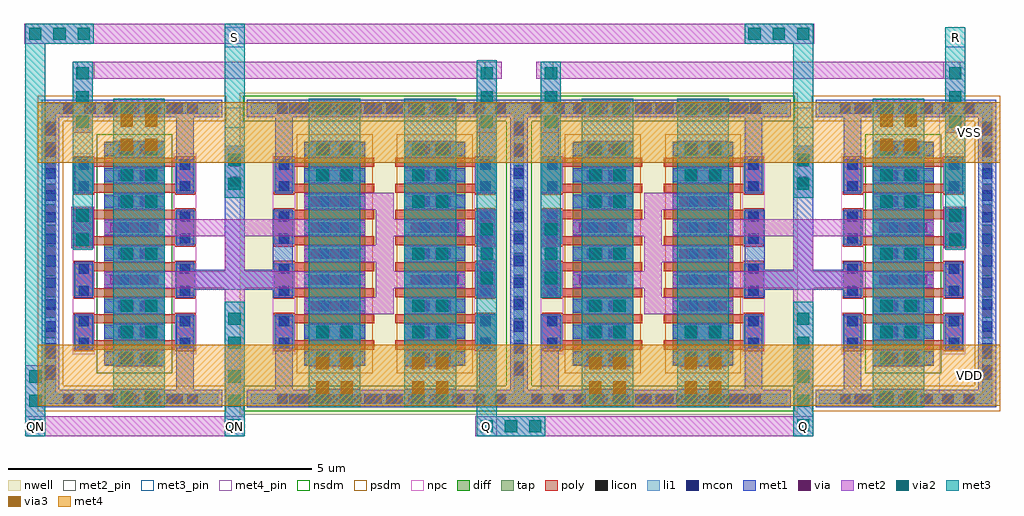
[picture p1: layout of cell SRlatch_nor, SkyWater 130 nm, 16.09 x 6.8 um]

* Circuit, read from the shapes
.subckt SRlatch_nor Q QN R S VDD VSS
XM1 VSS VSS VSS VSS sky130_fd_pr__nfet_01v8 w=1 l=0.15 m=8
XM2 QN S VSS VSS sky130_fd_pr__nfet_01v8 w=1 l=0.15 m=2
XM3 QN Q VSS VSS sky130_fd_pr__nfet_01v8 w=1 l=0.15 m=2
XM4 Q QN VSS VSS sky130_fd_pr__nfet_01v8 w=1 l=0.15 m=2
XM5 Q R VSS VSS sky130_fd_pr__nfet_01v8 w=1 l=0.15 m=2
XM6 VDD VDD VDD VDD sky130_fd_pr__pfet_01v8 w=1 l=0.15 m=12
XM7 n1 VDD VDD VDD sky130_fd_pr__pfet_01v8 w=1 l=0.15 m=2
XM8 QN S n1 VDD sky130_fd_pr__pfet_01v8 w=1 l=0.15 m=4
XM9 n1 Q VDD VDD sky130_fd_pr__pfet_01v8 w=1 l=0.15 m=4
XM10 n2 R VDD VDD sky130_fd_pr__pfet_01v8 w=1 l=0.15 m=4
XM11 n2 VDD VDD VDD sky130_fd_pr__pfet_01v8 w=1 l=0.15 m=2
XM12 Q QN n2 VDD sky130_fd_pr__pfet_01v8 w=1 l=0.15 m=4
.ends

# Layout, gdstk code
from math import pi, radians
import gdstk
lib = gdstk.Library(unit=1e-6, precision=1e-09)
def R(c, l, rs):  # rectangles x0, y0, x1, y1
    for r in rs: c.add(gdstk.rectangle(r[:2], r[2:], *l))
def A(c, l, x, y, w, h, nx, ny, dx, dy):  # array of equal rectangles
    R(c, l, [(x+i*dx, y+j*dy, x+i*dx+w, y+j*dy+h) for i in range(nx) for j in range(ny)])
nwell = (64, 20)
diff = (65, 20)
tap = (65, 44)
poly = (66, 20)
licon = (66, 44)
li1 = (67, 20)
mcon = (67, 44)
met1 = (68, 20)
via = (68, 44)
met2_pin = (69, 16)
met2 = (69, 20)
via2 = (69, 44)
met3_pin = (70, 16)
met3 = (70, 20)
via3 = (70, 44)
met4_pin = (71, 16)
met4 = (71, 20)
nsdm = (93, 44)
psdm = (94, 20)
npc = (95, 20)

m2m3_c_cdns_713556821258 = lib.new_cell('M2M3_C_CDNS_713556821258')
R(m2m3_c_cdns_713556821258, met2, [(-0.165,-0.165,0.165,1.005)])
A(m2m3_c_cdns_713556821258, via2, -0.1, -0.08, 0.2, 0.2, 1, 3, 0, 0.4)
R(m2m3_c_cdns_713556821258, met3, [(-0.165,-0.165,0.165,0.985)])

m2m3_c_cdns_713556821254 = lib.new_cell('M2M3_C_CDNS_7135568212542')
R(m2m3_c_cdns_713556821254, met2, [(-0.185,-0.165,0.985,0.165)])
A(m2m3_c_cdns_713556821254, via2, -0.1, -0.1, 0.2, 0.2, 3, 1, 0.4, 0)
R(m2m3_c_cdns_713556821254, met3, [(-0.165,-0.165,0.965,0.165)])

m3m4_c_cdns_713556821254 = lib.new_cell('M3M4_C_CDNS_7135568212543')
R(m3m4_c_cdns_713556821254, met3, [(-0.425,-0.5,0.425,0.5)])
R(m3m4_c_cdns_713556821254, via3, [(-0.3,-0.3,-0.1,-0.1), (0.1,-0.3,0.3,-0.1), (-0.3,0.1,-0.1,0.3), (0.1,0.1,0.3,0.3)])
R(m3m4_c_cdns_713556821254, met4, [(-0.425,-0.5,0.425,0.5)])

m2m3_c_cdns_713556821251 = lib.new_cell('M2M3_C_CDNS_7135568212515')
R(m2m3_c_cdns_713556821251, met2, [(-0.985,-0.165,0.185,0.165)])
A(m2m3_c_cdns_713556821251, via2, -0.9, -0.1, 0.2, 0.2, 3, 1, 0.4, 0)
R(m2m3_c_cdns_713556821251, met3, [(-0.965,-0.165,0.165,0.165)])

polyconn_cdns_7135568212 = lib.new_cell('polyConn_CDNS_713556821250')
R(polyconn_cdns_7135568212, poly, [(-0.165,-0.315,0.165,0.315)])
R(polyconn_cdns_7135568212, licon, [(-0.085,-0.265,0.085,-0.095), (-0.085,0.095,0.085,0.265)])
R(polyconn_cdns_7135568212, li1, [(-0.165,-0.265,0.165,0.265)])
R(polyconn_cdns_7135568212, mcon, [(-0.085,-0.265,0.085,-0.095), (-0.085,0.095,0.085,0.265)])
R(polyconn_cdns_7135568212, met1, [(-0.145,-0.295,0.145,0.295)])
R(polyconn_cdns_7135568212, npc, [(-0.185,-0.365,0.185,0.365)])

m2m3_c_cdns_713556821255 = lib.new_cell('M2M3_C_CDNS_7135568212557')
R(m2m3_c_cdns_713556821255, met2, [(-0.425,-0.14,0.425,0.14)])
R(m2m3_c_cdns_713556821255, via2, [(-0.3,-0.1,-0.1,0.1), (0.1,-0.1,0.3,0.1)])
R(m2m3_c_cdns_713556821255, met3, [(-0.425,-0.165,0.425,0.165)])

c_m2m3_c_cdns_713556821255 = lib.new_cell('M2M3_C_CDNS_7135568212553')
R(c_m2m3_c_cdns_713556821255, met2, [(-0.425,-0.145,0.425,0.155), (-0.34,0.155,-0.06,0.16), (0.06,0.155,0.34,0.16)])
R(c_m2m3_c_cdns_713556821255, via2, [(-0.3,-0.08,-0.1,0.12), (0.1,-0.08,0.3,0.12)])
R(c_m2m3_c_cdns_713556821255, met3, [(-0.425,-0.145,0.425,0.185)])

m1m2_c_cdns_713556821255 = lib.new_cell('M1M2_C_CDNS_7135568212555')
R(m1m2_c_cdns_713556821255, met1, [(-0.425,-0.145,0.425,0.145), (-0.29,0.145,-0.03,0.15), (0.03,0.145,0.29,0.15)])
R(m1m2_c_cdns_713556821255, via, [(-0.235,-0.055,-0.085,0.095), (0.085,-0.055,0.235,0.095)])
R(m1m2_c_cdns_713556821255, met2, [(-0.425,-0.14,0.425,0.16)])

c_m1m2_c_cdns_713556821255 = lib.new_cell('M1M2_C_CDNS_7135568212552')
R(c_m1m2_c_cdns_713556821255, met1, [(-0.425,-0.13,0.425,0.13)])
R(c_m1m2_c_cdns_713556821255, via, [(-0.235,-0.075,-0.085,0.075), (0.085,-0.075,0.235,0.075)])
R(c_m1m2_c_cdns_713556821255, met2, [(-0.425,-0.14,0.425,0.14)])

m1m2_c_cdns_713556821254 = lib.new_cell('M1M2_C_CDNS_7135568212544')
R(m1m2_c_cdns_713556821254, met1, [(-0.5,-0.13,0.5,0.13)])
A(m1m2_c_cdns_713556821254, via, -0.395, -0.075, 0.15, 0.15, 3, 1, 0.32, 0)
R(m1m2_c_cdns_713556821254, met2, [(-0.5,-0.13,0.5,0.13)])

nfet_01v8_cdns_713556821 = lib.new_cell('nfet_01v8_CDNS_7135568212510')
R(nfet_01v8_cdns_713556821, diff, [(0,-0.845,1,0.055)])
R(nfet_01v8_cdns_713556821, poly, [(-0.15,-0.58,1.15,-0.43), (-0.15,-0.15,1.15,0)])
R(nfet_01v8_cdns_713556821, licon, [(0.245,-0.805,0.415,-0.635), (0.585,-0.805,0.755,-0.635), (0.245,-0.375,0.415,-0.205), (0.585,-0.375,0.755,-0.205)])
R(nfet_01v8_cdns_713556821, li1, [(0,-0.805,1,-0.635), (0,-0.375,1,-0.205)])
R(nfet_01v8_cdns_713556821, mcon, [(0.235,-0.805,0.405,-0.635), (0.595,-0.805,0.765,-0.635), (0.235,-0.375,0.405,-0.205), (0.595,-0.375,0.765,-0.205)])
R(nfet_01v8_cdns_713556821, met1, [(0,-0.835,1,-0.605), (0,-0.405,1,-0.175)])
R(nfet_01v8_cdns_713556821, nsdm, [(-0.125,-0.97,1.125,0.18)])

c_nfet_01v8_cdns_713556821 = lib.new_cell('nfet_01v8_CDNS_713556821258')
R(c_nfet_01v8_cdns_713556821, diff, [(0,-0.805,1,0.225)])
R(c_nfet_01v8_cdns_713556821, poly, [(-0.15,-0.58,1.15,-0.43), (-0.15,-0.15,1.15,0)])
A(c_nfet_01v8_cdns_713556821, licon, 0.245, -0.805, 0.17, 0.17, 1, 3, 0, 0.43)
A(c_nfet_01v8_cdns_713556821, licon, 0.585, -0.805, 0.17, 0.17, 1, 3, 0, 0.43)
A(c_nfet_01v8_cdns_713556821, li1, 0, -0.805, 1, 0.17, 1, 3, 0, 0.43)
A(c_nfet_01v8_cdns_713556821, mcon, 0.235, -0.805, 0.17, 0.17, 1, 3, 0, 0.43)
A(c_nfet_01v8_cdns_713556821, mcon, 0.595, -0.805, 0.17, 0.17, 1, 3, 0, 0.43)
A(c_nfet_01v8_cdns_713556821, met1, 0, -0.835, 1, 0.23, 1, 3, 0, 0.43)
R(c_nfet_01v8_cdns_713556821, nsdm, [(-0.125,-0.93,1.125,0.35)])

c_m2m3_c_cdns_713556821254 = lib.new_cell('M2M3_C_CDNS_7135568212545')
R(c_m2m3_c_cdns_713556821254, met2, [(-0.165,-0.48,0.165,0.48)])
R(c_m2m3_c_cdns_713556821254, via2, [(-0.1,-0.3,0.1,-0.1), (-0.1,0.1,0.1,0.3)])
R(c_m2m3_c_cdns_713556821254, met3, [(-0.165,-0.48,0.165,0.48)])

pfet_01v8_cdns_713556821 = lib.new_cell('pfet_01v8_CDNS_713556821259')
R(pfet_01v8_cdns_713556821, nwell, [(-0.18,-0.555,1.18,0.235)])
R(pfet_01v8_cdns_713556821, diff, [(0,-0.375,1,0.055)])
R(pfet_01v8_cdns_713556821, poly, [(-0.15,-0.15,1.15,0)])
R(pfet_01v8_cdns_713556821, licon, [(0.245,-0.375,0.415,-0.205), (0.585,-0.375,0.755,-0.205)])
R(pfet_01v8_cdns_713556821, li1, [(0,-0.375,1,-0.205)])
R(pfet_01v8_cdns_713556821, mcon, [(0.235,-0.375,0.405,-0.205), (0.595,-0.375,0.765,-0.205)])
R(pfet_01v8_cdns_713556821, met1, [(0,-0.405,1,-0.175)])
R(pfet_01v8_cdns_713556821, psdm, [(-0.125,-0.5,1.125,0.18)])

c_pfet_01v8_cdns_713556821 = lib.new_cell('pfet_01v8_CDNS_713556821252')
R(c_pfet_01v8_cdns_713556821, nwell, [(-0.18,-0.595,1.18,0.235)])
R(c_pfet_01v8_cdns_713556821, diff, [(0,-0.415,1,0.055)])
R(c_pfet_01v8_cdns_713556821, poly, [(-0.15,-0.15,1.15,0)])
R(c_pfet_01v8_cdns_713556821, licon, [(0.245,-0.375,0.415,-0.205), (0.585,-0.375,0.755,-0.205)])
R(c_pfet_01v8_cdns_713556821, li1, [(0,-0.375,1,-0.205)])
R(c_pfet_01v8_cdns_713556821, mcon, [(0.235,-0.375,0.405,-0.205), (0.595,-0.375,0.765,-0.205)])
R(c_pfet_01v8_cdns_713556821, met1, [(0,-0.405,1,-0.175)])
R(c_pfet_01v8_cdns_713556821, psdm, [(-0.125,-0.54,1.125,0.18)])

c_pfet_01v8_cdns_713556821_ = lib.new_cell('pfet_01v8_CDNS_713556821254')
R(c_pfet_01v8_cdns_713556821_, nwell, [(-0.18,-1.845,1.18,0.405)])
R(c_pfet_01v8_cdns_713556821_, diff, [(0,-1.665,1,0.225)])
A(c_pfet_01v8_cdns_713556821_, poly, -0.15, -1.44, 1.3, 0.15, 1, 4, 0, 0.43)
A(c_pfet_01v8_cdns_713556821_, licon, 0.245, -1.665, 0.17, 0.17, 1, 5, 0, 0.43)
A(c_pfet_01v8_cdns_713556821_, licon, 0.585, -1.665, 0.17, 0.17, 1, 5, 0, 0.43)
A(c_pfet_01v8_cdns_713556821_, li1, 0, -1.665, 1, 0.17, 1, 5, 0, 0.43)
A(c_pfet_01v8_cdns_713556821_, mcon, 0.235, -1.665, 0.17, 0.17, 1, 5, 0, 0.43)
A(c_pfet_01v8_cdns_713556821_, mcon, 0.595, -1.665, 0.17, 0.17, 1, 5, 0, 0.43)
A(c_pfet_01v8_cdns_713556821_, met1, 0, -1.695, 1, 0.23, 1, 5, 0, 0.43)
R(c_pfet_01v8_cdns_713556821_, psdm, [(-0.125,-1.79,1.125,0.35)])

c_pfet_01v8_cdns_713556821__ = lib.new_cell('pfet_01v8_CDNS_713556821251')
R(c_pfet_01v8_cdns_713556821__, nwell, [(-0.18,-1.025,1.18,0.235)])
R(c_pfet_01v8_cdns_713556821__, diff, [(0,-0.845,1,0.055)])
R(c_pfet_01v8_cdns_713556821__, poly, [(-0.15,-0.58,1.15,-0.43), (-0.15,-0.15,1.15,0)])
R(c_pfet_01v8_cdns_713556821__, licon, [(0.245,-0.805,0.415,-0.635), (0.585,-0.805,0.755,-0.635), (0.245,-0.375,0.415,-0.205), (0.585,-0.375,0.755,-0.205)])
R(c_pfet_01v8_cdns_713556821__, li1, [(0,-0.805,1,-0.635), (0,-0.375,1,-0.205)])
R(c_pfet_01v8_cdns_713556821__, mcon, [(0.235,-0.805,0.405,-0.635), (0.595,-0.805,0.765,-0.635), (0.235,-0.375,0.405,-0.205), (0.595,-0.375,0.765,-0.205)])
R(c_pfet_01v8_cdns_713556821__, met1, [(0,-0.835,1,-0.605), (0,-0.405,1,-0.175)])
R(c_pfet_01v8_cdns_713556821__, psdm, [(-0.125,-0.97,1.125,0.18)])

c_m2m3_c_cdns_713556821254_ = lib.new_cell('M2M3_C_CDNS_7135568212547')
R(c_m2m3_c_cdns_713556821254_, met2, [(-0.165,-0.725,0.165,0.725)])
A(c_m2m3_c_cdns_713556821254_, via2, -0.1, -0.5, 0.2, 0.2, 1, 3, 0, 0.4)
R(c_m2m3_c_cdns_713556821254_, met3, [(-0.165,-0.725,0.165,0.725)])

c_m1m2_c_cdns_713556821254 = lib.new_cell('M1M2_C_CDNS_7135568212546')
R(c_m1m2_c_cdns_713556821254, met1, [(-0.165,-0.725,0.165,0.725)])
A(c_m1m2_c_cdns_713556821254, via, -0.075, -0.555, 0.15, 0.15, 1, 4, 0, 0.32)
R(c_m1m2_c_cdns_713556821254, met2, [(-0.165,-0.725,0.165,0.725)])

c_nfet_01v8_cdns_713556821_ = lib.new_cell('nfet_01v8_CDNS_7135568212511')
R(c_nfet_01v8_cdns_713556821_, diff, [(0,-0.635,1,0.055)])
R(c_nfet_01v8_cdns_713556821_, poly, [(-0.15,-0.58,1.15,-0.43), (-0.15,-0.15,1.15,0)])
R(c_nfet_01v8_cdns_713556821_, licon, [(0.245,-0.375,0.415,-0.205), (0.585,-0.375,0.755,-0.205)])
R(c_nfet_01v8_cdns_713556821_, li1, [(0,-0.375,1,-0.205)])
R(c_nfet_01v8_cdns_713556821_, mcon, [(0.235,-0.375,0.405,-0.205), (0.595,-0.375,0.765,-0.205)])
R(c_nfet_01v8_cdns_713556821_, met1, [(0,-0.405,1,-0.175)])
R(c_nfet_01v8_cdns_713556821_, nsdm, [(-0.125,-0.76,1.125,0.18)])

c_m2m3_c_cdns_713556821254__ = lib.new_cell('M2M3_C_CDNS_7135568212549')
R(c_m2m3_c_cdns_713556821254__, met2, [(-0.185,-0.34,0.185,0.34)])
R(c_m2m3_c_cdns_713556821254__, via2, [(-0.1,-0.3,0.1,-0.1), (-0.1,0.1,0.1,0.3)])
R(c_m2m3_c_cdns_713556821254__, met3, [(-0.165,-0.365,0.165,0.365)])

c_m1m2_c_cdns_713556821254_ = lib.new_cell('M1M2_C_CDNS_7135568212548')
R(c_m1m2_c_cdns_713556821254_, met1, [(-0.165,-0.295,0.165,0.295)])
R(c_m1m2_c_cdns_713556821254_, via, [(-0.075,-0.235,0.075,-0.085), (-0.075,0.085,0.075,0.235)])
R(c_m1m2_c_cdns_713556821254_, met2, [(-0.185,-0.34,0.185,0.34)])

c_nfet_01v8_cdns_713556821__ = lib.new_cell('nfet_01v8_CDNS_713556821253')
R(c_nfet_01v8_cdns_713556821__, diff, [(0,-0.805,1,0.265)])
R(c_nfet_01v8_cdns_713556821__, poly, [(-0.15,-0.58,1.15,-0.43), (-0.15,-0.15,1.15,0)])
A(c_nfet_01v8_cdns_713556821__, licon, 0.245, -0.805, 0.17, 0.17, 1, 3, 0, 0.43)
A(c_nfet_01v8_cdns_713556821__, licon, 0.585, -0.805, 0.17, 0.17, 1, 3, 0, 0.43)
A(c_nfet_01v8_cdns_713556821__, li1, 0, -0.805, 1, 0.17, 1, 3, 0, 0.43)
A(c_nfet_01v8_cdns_713556821__, mcon, 0.235, -0.805, 0.17, 0.17, 1, 3, 0, 0.43)
A(c_nfet_01v8_cdns_713556821__, mcon, 0.595, -0.805, 0.17, 0.17, 1, 3, 0, 0.43)
A(c_nfet_01v8_cdns_713556821__, met1, 0, -0.835, 1, 0.23, 1, 3, 0, 0.43)
R(c_nfet_01v8_cdns_713556821__, nsdm, [(-0.125,-0.93,1.125,0.39)])

c_m1m2_c_cdns_713556821255_ = lib.new_cell('M1M2_C_CDNS_7135568212550')
R(c_m1m2_c_cdns_713556821255_, met1, [(-0.165,-0.43,0.165,0.43)])
R(c_m1m2_c_cdns_713556821255_, via, [(-0.075,-0.235,0.075,-0.085), (-0.075,0.085,0.075,0.235)])
R(c_m1m2_c_cdns_713556821255_, met2, [(-0.165,-0.43,0.165,0.43)])

c_m2m3_c_cdns_713556821255_ = lib.new_cell('M2M3_C_CDNS_713556821255')
R(c_m2m3_c_cdns_713556821255_, met2, [(-0.165,-0.43,0.165,0.43)])
R(c_m2m3_c_cdns_713556821255_, via2, [(-0.1,-0.3,0.1,-0.1), (-0.1,0.1,0.1,0.3)])
R(c_m2m3_c_cdns_713556821255_, met3, [(-0.165,-0.43,0.165,0.43)])

c_pfet_01v8_cdns_713556821___ = lib.new_cell('pfet_01v8_CDNS_713556821257')
R(c_pfet_01v8_cdns_713556821___, nwell, [(-0.18,-0.385,1.18,0.405)])
R(c_pfet_01v8_cdns_713556821___, diff, [(0,-0.205,1,0.225)])
R(c_pfet_01v8_cdns_713556821___, poly, [(-0.15,-0.15,1.15,0)])
R(c_pfet_01v8_cdns_713556821___, licon, [(0.245,0.055,0.415,0.225), (0.585,0.055,0.755,0.225)])
R(c_pfet_01v8_cdns_713556821___, li1, [(0,0.055,1,0.225)])
R(c_pfet_01v8_cdns_713556821___, mcon, [(0.235,0.055,0.405,0.225), (0.595,0.055,0.765,0.225)])
R(c_pfet_01v8_cdns_713556821___, met1, [(0,0.025,1,0.255)])
R(c_pfet_01v8_cdns_713556821___, psdm, [(-0.125,-0.33,1.125,0.35)])

c_pfet_01v8_cdns_713556821____ = lib.new_cell('pfet_01v8_CDNS_713556821255')
R(c_pfet_01v8_cdns_713556821____, nwell, [(-0.18,-0.385,1.18,0.445)])
R(c_pfet_01v8_cdns_713556821____, diff, [(0,-0.205,1,0.265)])
R(c_pfet_01v8_cdns_713556821____, poly, [(-0.15,-0.15,1.15,0)])
R(c_pfet_01v8_cdns_713556821____, licon, [(0.245,0.055,0.415,0.225), (0.585,0.055,0.755,0.225)])
R(c_pfet_01v8_cdns_713556821____, li1, [(0,0.055,1,0.225)])
R(c_pfet_01v8_cdns_713556821____, mcon, [(0.235,0.055,0.405,0.225), (0.595,0.055,0.765,0.225)])
R(c_pfet_01v8_cdns_713556821____, met1, [(0,0.025,1,0.255)])
R(c_pfet_01v8_cdns_713556821____, psdm, [(-0.125,-0.33,1.125,0.39)])

c_pfet_01v8_cdns_713556821_____ = lib.new_cell('pfet_01v8_CDNS_713556821256')
R(c_pfet_01v8_cdns_713556821_____, nwell, [(-0.18,-0.815,1.18,0.445)])
R(c_pfet_01v8_cdns_713556821_____, diff, [(0,-0.635,1,0.265)])
R(c_pfet_01v8_cdns_713556821_____, poly, [(-0.15,-0.58,1.15,-0.43), (-0.15,-0.15,1.15,0)])
R(c_pfet_01v8_cdns_713556821_____, licon, [(0.245,-0.375,0.415,-0.205), (0.585,-0.375,0.755,-0.205), (0.245,0.055,0.415,0.225), (0.585,0.055,0.755,0.225)])
R(c_pfet_01v8_cdns_713556821_____, li1, [(0,-0.375,1,-0.205), (0,0.055,1,0.225)])
R(c_pfet_01v8_cdns_713556821_____, mcon, [(0.235,-0.375,0.405,-0.205), (0.595,-0.375,0.765,-0.205), (0.235,0.055,0.405,0.225), (0.595,0.055,0.765,0.225)])
R(c_pfet_01v8_cdns_713556821_____, met1, [(0,-0.405,1,-0.175), (0,0.025,1,0.255)])
R(c_pfet_01v8_cdns_713556821_____, psdm, [(-0.125,-0.76,1.125,0.39)])

c_m1m2_c_cdns_713556821255__ = lib.new_cell('M1M2_C_CDNS_7135568212556')
R(c_m1m2_c_cdns_713556821255__, met1, [(-0.425,-0.145,0.425,0.145)])
R(c_m1m2_c_cdns_713556821255__, via, [(-0.235,-0.075,-0.085,0.075), (0.085,-0.075,0.235,0.075)])
R(c_m1m2_c_cdns_713556821255__, met2, [(-0.425,-0.145,0.425,0.145)])

c_m2m3_c_cdns_713556821255__ = lib.new_cell('M2M3_C_CDNS_7135568212551')
R(c_m2m3_c_cdns_713556821255__, met2, [(-0.165,-1.03,0.165,0.14)])
A(c_m2m3_c_cdns_713556821255__, via2, -0.1, -0.945, 0.2, 0.2, 1, 3, 0, 0.4)
R(c_m2m3_c_cdns_713556821255__, met3, [(-0.165,-1.01,0.165,0.14)])

c_m2m3_c_cdns_713556821255___ = lib.new_cell('M2M3_C_CDNS_7135568212554')
R(c_m2m3_c_cdns_713556821255___, met2, [(-0.425,-0.145,0.425,0.145)])
R(c_m2m3_c_cdns_713556821255___, via2, [(-0.3,-0.1,-0.1,0.1), (0.1,-0.1,0.3,0.1)])
R(c_m2m3_c_cdns_713556821255___, met3, [(-0.425,-0.165,0.425,0.165)])

nor = lib.new_cell('nor')
R(nor, nwell, [(3.33,-5.815,8.195,-0.505)])
R(nor, tap, [(0.125,-5.635,2.98,-5.465), (3.51,-5.635,8.015,-5.465), (0.125,-5.465,0.295,-0.855), (7.845,-5.465,8.015,-0.855), (0.125,-0.855,2.98,-0.685), (3.51,-0.855,8.015,-0.685)])
A(nor, poly, 0.595, -4.74, 0.5, 0.15, 1, 8, 0, 0.43)
A(nor, poly, 2.095, -4.74, 0.5, 0.15, 1, 8, 0, 0.43)
A(nor, poly, 3.895, -4.74, 0.5, 0.15, 1, 8, 0, 0.43)
A(nor, poly, 7.045, -4.74, 0.5, 0.15, 1, 8, 0, 0.43)
A(nor, licon, 0.425, -5.635, 0.17, 0.17, 7, 2, 0.34, 4.78)
A(nor, licon, 4.145, -5.635, 0.17, 0.17, 11, 2, 0.34, 4.78)
A(nor, licon, 0.125, -5.235, 0.17, 0.17, 1, 13, 0, 0.34)
A(nor, licon, 7.845, -5.115, 0.17, 0.17, 1, 12, 0, 0.36)
R(nor, li1, [(0.125,-5.635,2.98,-5.465), (3.51,-5.635,8.015,-5.465), (0.125,-5.465,0.295,-0.855), (7.845,-5.465,8.015,-0.855), (0.125,-0.855,2.98,-0.685), (3.51,-0.855,8.015,-0.685)])
A(nor, mcon, 0.425, -5.635, 0.17, 0.17, 6, 2, 0.36, 4.78)
A(nor, mcon, 3.945, -5.635, 0.17, 0.17, 11, 2, 0.36, 4.78)
A(nor, mcon, 0.125, -5.165, 0.17, 0.17, 1, 12, 0, 0.36)
A(nor, mcon, 7.845, -5.165, 0.17, 0.17, 1, 12, 0, 0.36)
R(nor, met1, [(0.065,-5.695,3.04,-5.405), (3.45,-5.695,8.075,-5.405), (0.065,-5.405,0.355,-0.915), (1.245,-5.405,2.095,-5.4), (2.285,-5.405,2.575,-4.155), (3.915,-5.405,4.205,-4.155), (4.47,-5.405,5.32,-5.4), (6.045,-5.405,6.895,-5.4), (7.275,-5.405,7.565,-4.155), (7.785,-5.405,8.075,-0.915), (3.875,-3.885,4.205,-3.755), (7.235,-3.885,7.565,-2.435), (2.285,-3.755,4.205,-3.425), (3.08,-3.425,3.41,-1.38), (3.875,-3.425,4.205,-2.435), (0.575,-3.025,0.905,-2.435), (2.285,-2.165,2.575,-0.915), (3.915,-2.165,4.205,-0.915), (7.275,-2.165,7.565,-0.915), (0.065,-0.915,3.04,-0.625), (3.45,-0.915,8.075,-0.625)])
R(nor, met2_pin, [(0.655,-0.28,0.935,0), (7.365,-0.28,7.645,0)])
A(nor, met2, 4.395, -4.16, 1.47, 0.28, 1, 3, 0, 0.86)
A(nor, met2, 5.575, -3.88, 0.29, 0.15, 1, 4, 0, 0.43)
R(nor, met2, [(1.245,-5.695,2.095,-5.39), (4.47,-5.695,5.32,-5.39), (6.045,-5.695,6.895,-5.39), (3.08,-4.915,3.41,-3.73), (1.095,-3.73,5.395,-3.45), (5.575,-3.73,7.045,-3.45), (3.08,-3.45,3.41,-2.87), (1.095,-2.87,5.395,-2.59), (5.575,-2.87,7.045,-2.59), (0.575,-0.28,7.645,0)])
R(nor, met3_pin, [(3.08,-5.55,3.41,-5.22), (1.245,-1.455,2.095,-0.605), (6.045,-1.455,6.895,-0.605), (3.08,-1.085,3.41,-0.755)])
R(nor, met3, [(1.245,-5.695,2.095,-0.605), (4.47,-5.695,5.32,-0.605), (6.045,-5.695,6.895,-0.605), (3.08,-5.55,3.41,-3.95), (7.235,-3.885,7.565,0), (0.575,-3.095,0.905,0), (3.08,-2.24,3.41,-0.755)])
R(nor, nsdm, [(3.385,-5.76,8.14,-5.34), (7.72,-5.34,8.14,-0.98), (3.385,-0.98,8.14,-0.56)])
R(nor, psdm, [(0,-5.76,3.105,-5.34), (0,-5.34,0.42,-0.98), (0,-0.98,3.105,-0.56)])
A(nor, npc, 0.575, -4.085, 0.37, 0.13, 1, 3, 0, 0.86)
A(nor, npc, 2.245, -4.085, 0.37, 0.13, 1, 3, 0, 0.86)
A(nor, npc, 3.875, -4.085, 0.37, 0.13, 1, 3, 0, 0.86)
A(nor, npc, 7.195, -4.085, 0.37, 0.13, 1, 3, 0, 0.86)
nor.add(gdstk.Reference(polyconn_cdns_7135568212, (0.76,-4.45)))
nor.add(gdstk.Reference(m2m3_c_cdns_713556821255, (1.67,-4.45)))
nor.add(gdstk.Reference(m2m3_c_cdns_713556821255, (1.67,-4.88)))
nor.add(gdstk.Reference(c_m2m3_c_cdns_713556821255, (1.67,-5.55)))
nor.add(gdstk.Reference(m1m2_c_cdns_713556821255, (1.67,-5.55)))
nor.add(gdstk.Reference(c_m1m2_c_cdns_713556821255, (1.67,-4.45)))
nor.add(gdstk.Reference(c_m1m2_c_cdns_713556821255, (1.67,-4.88)))
nor.add(gdstk.Reference(polyconn_cdns_7135568212, (0.76,-3.59)))
nor.add(gdstk.Reference(m2m3_c_cdns_713556821255, (1.67,-4.02)))
nor.add(gdstk.Reference(c_m1m2_c_cdns_713556821255, (1.67,-4.02)))
nor.add(gdstk.Reference(m1m2_c_cdns_713556821254, (1.595,-3.59)))
nor.add(gdstk.Reference(nfet_01v8_cdns_713556821, (1.095,-4.16)))
nor.add(gdstk.Reference(c_nfet_01v8_cdns_713556821, (1.095,-3.3)))
nor.add(gdstk.Reference(c_m2m3_c_cdns_713556821254, (3.245,-4.43)))
nor.add(gdstk.Reference(polyconn_cdns_7135568212, (2.43,-3.59), rotation=pi, x_reflection=True))
nor.add(gdstk.Reference(polyconn_cdns_7135568212, (2.43,-4.45), rotation=pi, x_reflection=True))
nor.add(gdstk.Reference(polyconn_cdns_7135568212, (4.06,-4.45)))
nor.add(gdstk.Reference(pfet_01v8_cdns_713556821, (4.395,-4.16)))
nor.add(gdstk.Reference(c_pfet_01v8_cdns_713556821, (4.395,-4.59)))
nor.add(gdstk.Reference(m2m3_c_cdns_713556821255, (4.895,-4.45)))
nor.add(gdstk.Reference(m2m3_c_cdns_713556821255, (4.895,-4.88)))
nor.add(gdstk.Reference(c_m2m3_c_cdns_713556821255, (4.895,-5.55)))
nor.add(gdstk.Reference(m1m2_c_cdns_713556821255, (4.895,-5.55)))
nor.add(gdstk.Reference(c_m1m2_c_cdns_713556821255, (4.895,-4.45)))
nor.add(gdstk.Reference(c_m1m2_c_cdns_713556821255, (4.895,-4.88)))
nor.add(gdstk.Reference(polyconn_cdns_7135568212, (4.06,-3.59)))
nor.add(gdstk.Reference(m1m2_c_cdns_713556821254, (4.895,-3.59)))
nor.add(gdstk.Reference(m1m2_c_cdns_713556821254, (4.895,-4.02)))
nor.add(gdstk.Reference(c_pfet_01v8_cdns_713556821_, (4.395,-2.44)))
nor.add(gdstk.Reference(c_pfet_01v8_cdns_713556821__, (6.045,-4.16)))
nor.add(gdstk.Reference(c_pfet_01v8_cdns_713556821_, (6.045,-2.44)))
nor.add(gdstk.Reference(polyconn_cdns_7135568212, (7.38,-4.45), rotation=pi, x_reflection=True))
nor.add(gdstk.Reference(m2m3_c_cdns_713556821255, (6.47,-4.88)))
nor.add(gdstk.Reference(m2m3_c_cdns_713556821255, (6.47,-4.45)))
nor.add(gdstk.Reference(c_m2m3_c_cdns_713556821255, (6.47,-5.55)))
nor.add(gdstk.Reference(m1m2_c_cdns_713556821255, (6.47,-5.55)))
nor.add(gdstk.Reference(c_m1m2_c_cdns_713556821255, (6.47,-4.45)))
nor.add(gdstk.Reference(c_m1m2_c_cdns_713556821255, (6.47,-4.88)))
nor.add(gdstk.Reference(polyconn_cdns_7135568212, (7.38,-3.59), rotation=pi, x_reflection=True))
nor.add(gdstk.Reference(m2m3_c_cdns_713556821255, (6.47,-4.02)))
nor.add(gdstk.Reference(c_m1m2_c_cdns_713556821255, (6.47,-4.02)))
nor.add(gdstk.Reference(m1m2_c_cdns_713556821254, (6.545,-3.59)))
nor.add(gdstk.Reference(c_m2m3_c_cdns_713556821254_, (7.4,-3.16)))
nor.add(gdstk.Reference(c_m1m2_c_cdns_713556821254, (7.4,-3.16)))
nor.add(gdstk.Reference(polyconn_cdns_7135568212, (0.76,-2.73)))
nor.add(gdstk.Reference(c_nfet_01v8_cdns_713556821_, (1.095,-2.44)))
nor.add(gdstk.Reference(m2m3_c_cdns_713556821255, (1.67,-3.16)))
nor.add(gdstk.Reference(m2m3_c_cdns_713556821255, (1.67,-2.3)))
nor.add(gdstk.Reference(c_m2m3_c_cdns_713556821254__, (0.74,-2.73)))
nor.add(gdstk.Reference(c_m1m2_c_cdns_713556821255, (1.67,-2.3)))
nor.add(gdstk.Reference(c_m1m2_c_cdns_713556821255, (1.67,-3.16)))
nor.add(gdstk.Reference(c_m1m2_c_cdns_713556821254_, (0.74,-2.73)))
nor.add(gdstk.Reference(m1m2_c_cdns_713556821254, (1.595,-2.73)))
nor.add(gdstk.Reference(polyconn_cdns_7135568212, (0.76,-1.87)))
nor.add(gdstk.Reference(m2m3_c_cdns_713556821255, (1.67,-1.44)))
nor.add(gdstk.Reference(m2m3_c_cdns_713556821255, (1.67,-1.87)))
nor.add(gdstk.Reference(c_m1m2_c_cdns_713556821255, (1.67,-1.44)))
nor.add(gdstk.Reference(c_m1m2_c_cdns_713556821255, (1.67,-1.87)))
nor.add(gdstk.Reference(c_nfet_01v8_cdns_713556821__, (1.095,-1.58)))
nor.add(gdstk.Reference(c_m1m2_c_cdns_713556821255_, (3.245,-1.81)))
nor.add(gdstk.Reference(c_m2m3_c_cdns_713556821255_, (3.245,-1.81)))
nor.add(gdstk.Reference(polyconn_cdns_7135568212, (2.43,-1.87), rotation=pi, x_reflection=True))
nor.add(gdstk.Reference(polyconn_cdns_7135568212, (2.43,-2.73), rotation=pi, x_reflection=True))
nor.add(gdstk.Reference(polyconn_cdns_7135568212, (4.06,-2.73)))
nor.add(gdstk.Reference(m1m2_c_cdns_713556821254, (4.895,-2.73)))
nor.add(gdstk.Reference(m1m2_c_cdns_713556821254, (4.895,-3.16)))
nor.add(gdstk.Reference(polyconn_cdns_7135568212, (4.06,-1.87)))
nor.add(gdstk.Reference(c_pfet_01v8_cdns_713556821___, (4.395,-2.01)))
nor.add(gdstk.Reference(c_pfet_01v8_cdns_713556821____, (4.395,-1.58)))
nor.add(gdstk.Reference(m2m3_c_cdns_713556821255, (4.895,-1.87)))
nor.add(gdstk.Reference(c_m1m2_c_cdns_713556821255, (4.895,-1.87)))
nor.add(gdstk.Reference(m1m2_c_cdns_713556821254, (4.895,-2.3)))
nor.add(gdstk.Reference(m2m3_c_cdns_713556821255, (4.895,-1.44)))
nor.add(gdstk.Reference(c_m1m2_c_cdns_713556821255, (4.895,-1.44)))
nor.add(gdstk.Reference(c_pfet_01v8_cdns_713556821_____, (6.045,-1.58)))
nor.add(gdstk.Reference(polyconn_cdns_7135568212, (7.38,-2.73), rotation=pi, x_reflection=True))
nor.add(gdstk.Reference(m2m3_c_cdns_713556821255, (6.47,-3.16)))
nor.add(gdstk.Reference(c_m1m2_c_cdns_713556821255, (6.47,-3.16)))
nor.add(gdstk.Reference(m1m2_c_cdns_713556821254, (6.545,-2.73)))
nor.add(gdstk.Reference(polyconn_cdns_7135568212, (7.38,-1.87), rotation=pi, x_reflection=True))
nor.add(gdstk.Reference(m2m3_c_cdns_713556821255, (6.47,-2.3)))
nor.add(gdstk.Reference(c_m1m2_c_cdns_713556821255, (6.47,-2.3)))
nor.add(gdstk.Reference(m2m3_c_cdns_713556821255, (6.47,-1.44)))
nor.add(gdstk.Reference(m2m3_c_cdns_713556821255, (6.47,-1.87)))
nor.add(gdstk.Reference(c_m1m2_c_cdns_713556821255, (6.47,-1.44)))
nor.add(gdstk.Reference(c_m1m2_c_cdns_713556821255, (6.47,-1.87)))
nor.add(gdstk.Reference(c_m1m2_c_cdns_713556821255__, (1.67,-0.77)))
nor.add(gdstk.Reference(c_m2m3_c_cdns_713556821255__, (0.74,-0.14)))
nor.add(gdstk.Reference(c_m2m3_c_cdns_713556821255___, (1.67,-0.77)))
nor.add(gdstk.Reference(c_m1m2_c_cdns_713556821255__, (4.895,-0.77)))
nor.add(gdstk.Reference(c_m2m3_c_cdns_713556821255___, (4.895,-0.77)))
nor.add(gdstk.Reference(c_m1m2_c_cdns_713556821255__, (6.47,-0.77)))
nor.add(gdstk.Reference(c_m2m3_c_cdns_713556821255__, (7.4,-0.14)))
nor.add(gdstk.Reference(c_m2m3_c_cdns_713556821255___, (6.47,-0.77)))
nor.add(gdstk.Label('A', (7.505,-0.14), layer=69, texttype=5))
nor.add(gdstk.Label('A', (0.795,-0.14), layer=69, texttype=5))
nor.add(gdstk.Label('B', (3.245,-0.92), layer=70, texttype=5))
nor.add(gdstk.Label('Out', (3.245,-5.385), layer=70, texttype=5))
nor.add(gdstk.Label('VSS', (1.67,-1.03), layer=70, texttype=5))
nor.add(gdstk.Label('VDD', (6.47,-1.03), layer=70, texttype=5))

srlatch_nor = lib.new_cell('SRlatch_nor')
R(srlatch_nor, met2_pin, [(0.02,-6.8,0.35,-6.47), (3.305,-6.8,3.635,-6.47), (7.46,-6.8,7.79,-6.47), (12.675,-6.8,13.005,-6.47)])
R(srlatch_nor, met2, [(0.02,-6.8,3.635,-6.47), (7.46,-6.8,13.005,-6.47), (3.305,-6.47,3.635,-4.58), (12.675,-6.47,13.005,-4.58), (0,-0.33,13.005,0)])
R(srlatch_nor, met3_pin, [(3.305,-0.385,3.635,-0.055), (15.18,-0.385,15.51,-0.055)])
R(srlatch_nor, met3, [(0.02,-6.8,0.35,0), (3.305,-6.8,3.635,-5.85), (7.46,-6.8,7.79,-0.605), (12.675,-6.8,13.005,-5.85), (3.305,-1.715,3.635,0), (12.675,-1.715,13.005,0), (15.18,-1.715,15.51,-0.055)])
R(srlatch_nor, met4_pin, [(15.085,-6.295,16.085,-5.295), (15.085,-2.295,16.085,-1.295)])
R(srlatch_nor, met4, [(0.225,-6.295,16.085,-5.295), (0.225,-2.295,16.085,-1.295)])
srlatch_nor.add(gdstk.Reference(m2m3_c_cdns_713556821258, (12.84,-6.635)))
srlatch_nor.add(gdstk.Reference(m2m3_c_cdns_713556821258, (3.47,-6.635), rotation=pi, x_reflection=True))
srlatch_nor.add(gdstk.Reference(m2m3_c_cdns_713556821258, (0.185,-6.635), rotation=pi, x_reflection=True))
srlatch_nor.add(gdstk.Reference(m2m3_c_cdns_713556821254, (7.625,-6.635)))
srlatch_nor.add(gdstk.Reference(m3m4_c_cdns_713556821254, (6.695,-5.795)))
srlatch_nor.add(gdstk.Reference(m3m4_c_cdns_713556821254, (5.12,-5.795)))
srlatch_nor.add(gdstk.Reference(m3m4_c_cdns_713556821254, (9.615,-5.795)))
srlatch_nor.add(gdstk.Reference(m3m4_c_cdns_713556821254, (11.19,-5.795)))
srlatch_nor.add(gdstk.Reference(m2m3_c_cdns_713556821251, (12.84,-0.165)))
srlatch_nor.add(gdstk.Reference(m2m3_c_cdns_713556821251, (0.185,-0.165), rotation=pi, x_reflection=True))
srlatch_nor.add(gdstk.Reference(m3m4_c_cdns_713556821254, (14.415,-1.795)))
srlatch_nor.add(gdstk.Reference(m3m4_c_cdns_713556821254, (1.895,-1.795)))
srlatch_nor.add(gdstk.Reference(nor, (0.225,-0.63)))
srlatch_nor.add(gdstk.Reference(nor, (16.085,-0.63), rotation=pi, x_reflection=True))
srlatch_nor.add(gdstk.Label('QN', (0.185,-6.635), layer=69, texttype=5))
srlatch_nor.add(gdstk.Label('QN', (3.47,-6.635), layer=69, texttype=5))
srlatch_nor.add(gdstk.Label('Q', (7.625,-6.635), layer=69, texttype=5))
srlatch_nor.add(gdstk.Label('Q', (12.84,-6.635), layer=69, texttype=5))
srlatch_nor.add(gdstk.Label('S', (3.47,-0.22), layer=70, texttype=5))
srlatch_nor.add(gdstk.Label('R', (15.345,-0.22), layer=70, texttype=5))
srlatch_nor.add(gdstk.Label('VDD', (15.585,-5.795), layer=71, texttype=5))
srlatch_nor.add(gdstk.Label('VSS', (15.585,-1.795), layer=71, texttype=5))

lib.write_gds('SRlatch_nor.gds')
